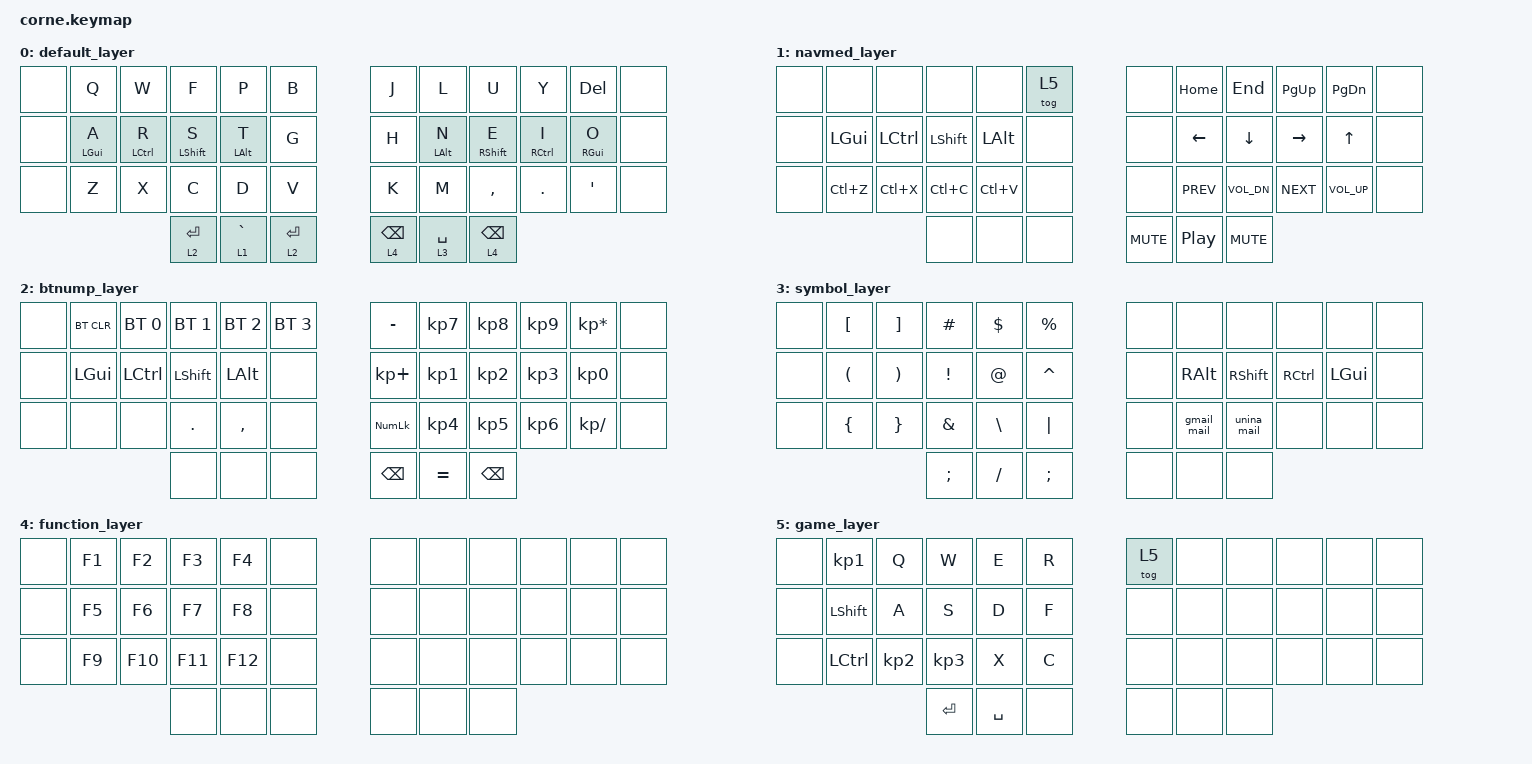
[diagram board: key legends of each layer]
/*
 * Copyright (c) 2020 The ZMK Contributors
 *
 * SPDX-License-Identifier: MIT
 */

#include <behaviors.dtsi>
#include <dt-bindings/zmk/keys.h>
#include <dt-bindings/zmk/bt.h>

#define default_layer 0
#define navmed_layer 1
#define btnump_layer 2
#define symbol_layer 3
#define function_layer 4
#define game_layer 5

/ {
    combos {
        compatible = "zmk,combos";
        combo_esc {
            timeout-ms = <50>;
            key-positions = <3 4>;
            bindings = <&kp ESC>;
        };
        combo_tab {
            timeout-ms = <50>;
            key-positions = <2 3>;
            bindings = <&kp TAB>;
        };
        combo_caps {
            timeout-ms = <50>;
            key-positions = <2 3 4>;
            bindings = <&kp CAPS>;
        };
    }; 
    
    behaviors {
        hm: homerow_mods {
            compatible = "zmk,behavior-hold-tap";
            label = "HOMEROW_MODS";
            #binding-cells = <2>;
            tapping-term-ms = <200>;
            quick-tap-ms = <0>;
            flavor = "tap-preferred";
            bindings = <&kp>, <&kp>;
        };
    };
    
    macros {
        ZMK_MACRO(gmail_mail,
            tap-ms = <30>;
            bindings = <&kp D &kp E &kp S &kp A &kp N &kp F &kp R &kp A &kp N &kp AT &kp G &kp M &kp A &kp I &kp L &kp DOT &kp C &kp O &kp M>;
        )
        ZMK_MACRO(unina_mail,
            tap-ms = <30>;
            bindings = <&kp F &kp R &kp A &kp N &kp C &kp E &kp S &kp C &kp O &kp DOT &kp D &kp E &kp S &kp A &kp N &kp T &kp I &kp S &kp KP_N2 &kp AT &kp S &kp T &kp U &kp D &kp E &kp N &kp T &kp I &kp DOT &kp U &kp N &kp I &kp N &kp A &kp DOT &kp I &kp T>;
        )
    };

    keymap {
        compatible = "zmk,keymap";
        
                default_layer {
                        bindings = <
   &none  &kp Q      &kp W       &kp F       &kp P       &kp B          &kp J      &kp L       &kp U       &kp Y       &kp DEL    &none
   &none  &hm LGUI A &hm LCTRL R &hm LSHFT S &hm LALT T  &kp G          &kp H      &hm LALT N  &hm RSHFT E &hm RCTRL I &hm RGUI O &none
   &none  &kp Z      &kp X       &kp C       &kp D       &kp V          &kp K      &kp M       &kp COMMA   &kp DOT     &kp APOS   &none
                                 &lt 2 RET   &lt 1 GRAVE &lt 2 RET      &lt 4 BSPC &lt 3 SPACE &lt 4 BSPC
                        >;
                };
                
                navmed_layer {
                        bindings = <
   &none  &none     &none     &none     &none     &tog 5     &none      &kp HOME   &kp END      &kp PG_UP  &kp PG_DN    &none
   &none  &kp LGUI  &kp LCTRL &kp LSHFT &kp LALT  &none      &none      &kp LEFT   &kp DOWN     &kp RIGHT  &kp UP       &none
   &none  &kp LC(Z) &kp LC(X) &kp LC(C) &kp LC(V) &none      &none      &kp C_PREV &kp C_VOL_DN &kp C_NEXT &kp C_VOL_UP &none
                   	          &none     &none     &none      &kp C_MUTE &kp C_PP   &kp C_MUTE
                        >;
                };
                
                btnump_layer {
                        bindings = <
   &none &bt BT_CLR &bt BT_SEL 0 &bt BT_SEL 1 &bt BT_SEL 2 &bt BT_SEL 3  &kp MINUS   &kp KP_N7 &kp KP_N8 &kp KP_N9 &kp KP_MULTIPLY &none
   &none &kp LGUI   &kp LCTRL    &kp LSHFT    &kp LALT     &none         &kp KP_PLUS &kp KP_N1 &kp KP_N2 &kp KP_N3 &kp KP_N0       &none
   &none &none      &none        &kp DOT      &kp COMMA    &none         &kp KP_NUM  &kp KP_N4 &kp KP_N5 &kp KP_N6 &kp KP_DIVIDE   &none
                                 &none        &none        &none         &kp BSPC    &kp EQUAL &kp BSPC
                        >;
                };

                symbol_layer {
                        bindings = <
   &none &kp LBKT &kp RBKT &kp HASH &kp DLLR &kp PRCNT   &none &none       &none       &none     &none    &none
   &none &kp LPAR &kp RPAR &kp EXCL &kp AT   &kp CARET   &none &kp RALT    &kp RSHFT   &kp RCTRL &kp LGUI &none
   &none &kp LBRC &kp RBRC &kp AMPS &kp BSLH &kp PIPE    &none &gmail_mail &unina_mail &none     &none    &none
                    	   &kp SEMI &kp FSLH &kp SEMI    &none &none       &none
                        >;
                };
                
                function_layer {
                        bindings = <
   &none &kp F1 &kp F2  &kp F3  &kp F4  &none   &none &none &none &none &none &none
   &none &kp F5 &kp F6  &kp F7  &kp F8  &none   &none &none &none &none &none &none
   &none &kp F9 &kp F10 &kp F11 &kp F12 &none   &none &none &none &none &none &none
                    	&none   &none   &none   &none &none &none
                        >;
                };
                
                game_layer {
                        bindings = <
   &none &kp KP_N1 &kp Q     &kp W     &kp E     &kp R         &tog 5 &none &none &none &none &none
   &none &kp LSHFT &kp A     &kp S     &kp D     &kp F         &none  &none &none &none &none &none
   &none &kp LCTRL &kp KP_N2 &kp KP_N3 &kp X     &kp C         &none  &none &none &none &none &none
                             &kp ENTER &kp SPACE &none         &none  &none &none
                        >;
                };
        };
};
